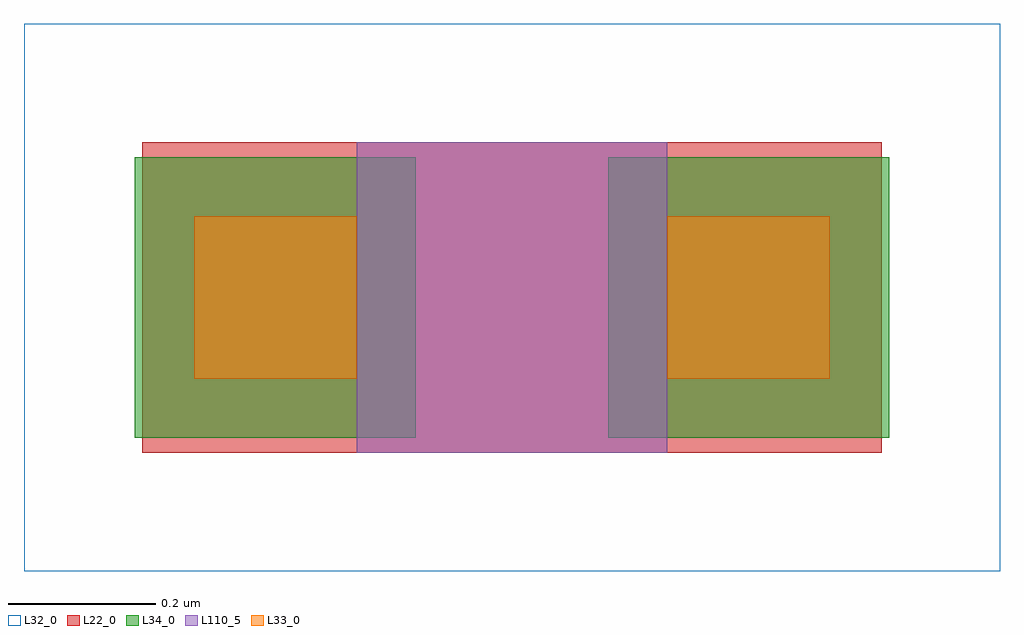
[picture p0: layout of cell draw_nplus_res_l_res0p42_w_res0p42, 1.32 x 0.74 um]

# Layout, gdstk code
import gdstk
lib = gdstk.Library(unit=1e-6, precision=1e-09)
def R(c, l, rs):  # rectangles x0, y0, x1, y1
    for r in rs: c.add(gdstk.rectangle(r[:2], r[2:], *l))
L22_0 = (22, 0)
L32_0 = (32, 0)
L33_0 = (33, 0)
L34_0 = (34, 0)
L110_5 = (110, 5)

draw_nplus_res_l_res0p42 = lib.new_cell('draw_nplus_res_l_res0p42_w_res0p42')
R(draw_nplus_res_l_res0p42, L22_0, [(-0.29,0,0.71,0.42)])
R(draw_nplus_res_l_res0p42, L32_0, [(-0.45,-0.16,0.87,0.58)])
R(draw_nplus_res_l_res0p42, L33_0, [(-0.22,0.1,0,0.32), (0.42,0.1,0.64,0.32)])
R(draw_nplus_res_l_res0p42, L34_0, [(-0.3,0.02,0.08,0.4), (0.34,0.02,0.72,0.4)])
R(draw_nplus_res_l_res0p42, L110_5, [(0,0,0.42,0.42)])

lib.write_gds('draw_nplus_res_l_res0p42_w_res0p42.gds')
